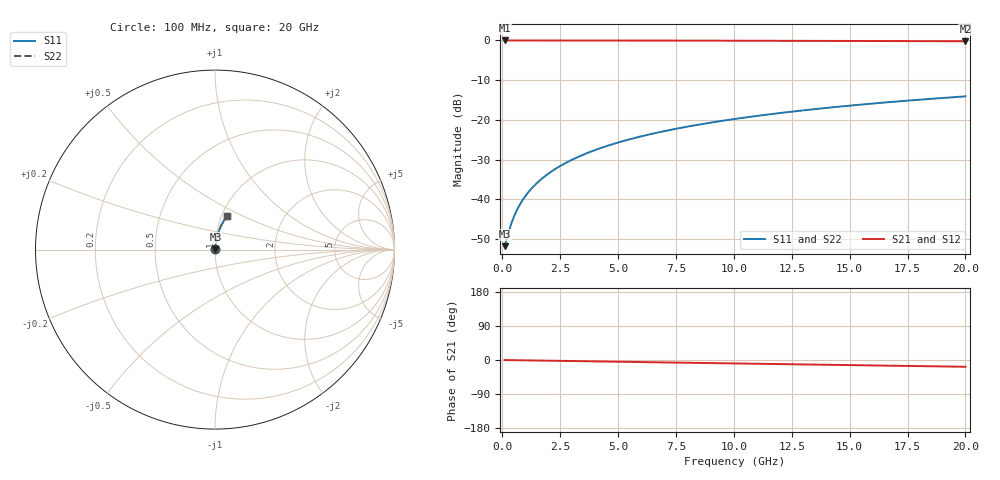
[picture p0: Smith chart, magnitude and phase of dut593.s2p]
! Touchstone file exported from HFSS 2026.1.0
!  File:  C:/ffzhzh/LocalFiles/Ansys_Project_Files/temp_train_TMRDL_593_1783008463_53980.aedt
!  Generated:  12:09:08 AM Jul  3, 2026
!  Design:  TMRDL
!  Project:  temp_train_TMRDL_593_1783008463_53980
! Variables:
!  h_bsmrdl = 2um
!  h_ox = 20um
!  h_rdl = 5um
!  h_sub = 80um
!  h_tmrdl = 2.32um
!  h_tsv = 80um
!  h_via = 3um
!  l_bsmrdl = 300um
!  l_sub = 614.55um
!  l_tmrdl = 214.55um
!  m_sub = 200um
!  pitch = 39.8um
!  r_tsv = 6um
!  s_tmrdl = 10um
!  w_bsmrdl = 18um
!  w_sub = 500um
!  w_tmrdl = 16.3um
!  x_tsv_center1 = 222.7um
!  x_tsv_center2 = 540.7um
!  x_tsv_center3 = 771.55um
!  x_tsv_center4 = 1089.55um
!  x_tsv_center5 = 1320.4um
!  x_tsv_center6 = 1638.4um
# GHz S MA R 50.000000
! Terminal data exported
! Port[1] = TM_RDL1_1_T1
! Port[2] = TM_RDL1_1_T2
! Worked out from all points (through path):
!   200 points, 100 MHz to 20 GHz, reference 50 ohm
!   highest |S21| = -0.02 dB at 100 MHz (marker M1); lowest = -0.2 dB at 20 GHz (marker M2)
!   group delay of S21, straight-line fit = 2.48 ps
!   lowest |S11| = -51.8 dB at 100 MHz (marker M3), VSWR 1.01, Z = 50.2 + j0.112 ohm
!   |S11| at or under -10 dB: start of sweep to end of sweep
!   |S22| runs from -51.8 to -14.1 dB; largest |S21 - S12| = 3.9e-15
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0.1  0.002564 25.7  0.9977 -0.1  0.9977 -0.1  0.002564 25.7
! Gamma 0 0 0 0
! Port Impedance 50 0 50 0
0.3  0.004086 54.1  0.9976 -0.3  0.9976 -0.3  0.004086 54.1
0.4  0.005028 60.7  0.9976 -0.4  0.9976 -0.4  0.005028 60.7
0.5  0.006005 65.0  0.9975 -0.5  0.9975 -0.5  0.006005 65.0
0.6  0.006996 68.1  0.9974 -0.6  0.9974 -0.6  0.006996 68.1
0.7  0.007992 70.4  0.9974 -0.7  0.9974 -0.7  0.007992 70.4
0.9  0.009992 73.6  0.9973 -0.8  0.9973 -0.8  0.009992 73.6
1.2  0.013 76.6  0.9972 -1.1  0.9972 -1.1  0.013 76.6
1.4  0.01502 77.9  0.9971 -1.3  0.9971 -1.3  0.01502 77.9
1.7  0.01805 79.3  0.997 -1.6  0.997 -1.6  0.01805 79.3
2.2  0.02313 80.7  0.9968 -2.0  0.9968 -2.0  0.02313 80.7
2.8  0.02926 81.5  0.9966 -2.6  0.9966 -2.6  0.02926 81.5
3.5  0.03641 81.9  0.9963 -3.2  0.9963 -3.2  0.03641 81.9
4.2  0.04356 82.0  0.9959 -3.8  0.9959 -3.8  0.04356 82.0
5  0.05173 81.8  0.9954 -4.6  0.9954 -4.6  0.05173 81.8
5.9  0.06089 81.4  0.9947 -5.4  0.9947 -5.4  0.06089 81.4
6.8  0.07001 80.9  0.994 -6.2  0.994 -6.2  0.07001 80.9
8.3  0.08512 79.9  0.9926 -7.6  0.9926 -7.6  0.08512 79.9
10.1  0.1031 78.5  0.9905 -9.2  0.9905 -9.2  0.1031 78.5
13.4  0.1354 75.8  0.986 -12.1  0.986 -12.1  0.1354 75.8
16.7  0.1668 73.1  0.9805 -15.0  0.9805 -15.0  0.1668 73.1
20  0.1973 70.4  0.9743 -17.9  0.9743 -17.9  0.1973 70.4
